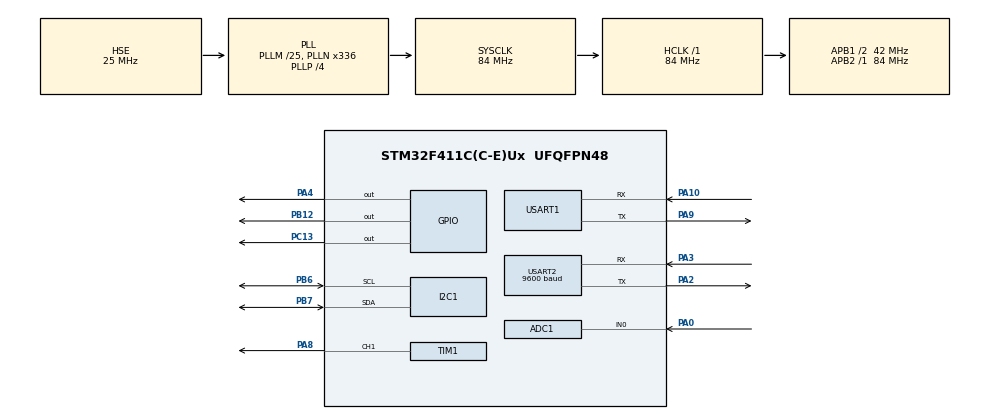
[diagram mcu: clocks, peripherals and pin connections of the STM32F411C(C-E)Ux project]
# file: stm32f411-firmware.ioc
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ADC1.Channel-0\#ChannelRegularConversion=ADC_CHANNEL_0
ADC1.NbrOfConversionFlag=1
ADC1.Rank-0\#ChannelRegularConversion=1
ADC1.SamplingTime-0\#ChannelRegularConversion=ADC_SAMPLETIME_3CYCLES
ADC1.master=1
Mcu.Family=STM32F4
Mcu.Name=STM32F411C(C-E)Ux
Mcu.Package=UFQFPN48
NVIC.PriorityGroup=NVIC_PRIORITYGROUP_4
NVIC.USART2_IRQn=true\:0\:0\:false\:false\:true\:true\:true\:true
PA0-WKUP.Signal=ADCx_IN0
PA10.Mode=Asynchronous
PA10.Signal=USART1_RX
PA13.Mode=Serial_Wire
PA13.Signal=SYS_JTMS-SWDIO
PA14.Mode=Serial_Wire
PA14.Signal=SYS_JTCK-SWCLK
PA2.Mode=Asynchronous
PA2.Signal=USART2_TX
PA3.Mode=Asynchronous
PA3.Signal=USART2_RX
PA4.Signal=GPIO_Output
PA8.Signal=S_TIM1_CH1
PA9.Mode=Asynchronous
PA9.Signal=USART1_TX
PB12.Signal=GPIO_Output
PB6.Mode=I2C
PB6.Signal=I2C1_SCL
PB7.Mode=I2C
PB7.Signal=I2C1_SDA
PC13-ANTI_TAMP.PinState=GPIO_PIN_SET
PC13-ANTI_TAMP.Signal=GPIO_Output
PH0\ -\ OSC_IN.Mode=HSE-External-Oscillator
PH0\ -\ OSC_IN.Signal=RCC_OSC_IN
PH1\ -\ OSC_OUT.Mode=HSE-External-Oscillator
PH1\ -\ OSC_OUT.Signal=RCC_OSC_OUT
ProjectManager.HeapSize=0x200
ProjectManager.StackSize=0x400
ProjectManager.TargetToolchain=CMake
RCC.48MHZClocksFreq_Value=84000000
RCC.AHBFreq_Value=84000000
RCC.APB1CLKDivider=RCC_HCLK_DIV2
RCC.APB1Freq_Value=42000000
RCC.APB1TimFreq_Value=84000000
RCC.APB2Freq_Value=84000000
RCC.APB2TimFreq_Value=84000000
RCC.CortexFreq_Value=84000000
RCC.HCLKFreq_Value=84000000
RCC.HSE_VALUE=25000000
RCC.HSI_VALUE=16000000
RCC.LSE_VALUE=32768
RCC.PLLM=25
RCC.PLLN=336
RCC.PLLP=RCC_PLLP_DIV4
RCC.PLLSourceVirtual=RCC_PLLSOURCE_HSE
RCC.SYSCLKFreq_VALUE=84000000
RCC.SYSCLKSource=RCC_SYSCLKSOURCE_PLLCLK
RCC.VCOOutputFreq_Value=336000000
SH.ADCx_IN0.0=ADC1_IN0,IN0
SH.S_TIM1_CH1.0=TIM1_CH1,PWM Generation1 CH1
TIM1.Channel-PWM\ Generation1\ CH1=TIM_CHANNEL_1
TIM1.ClockDivision=TIM_CLOCKDIVISION_DIV1
TIM1.Period=99
TIM1.Prescaler=41
USART1.VirtualMode=VM_ASYNC
USART2.BaudRate=9600
USART2.VirtualMode=VM_ASYNC
VP_TIM1_VS_ClockSourceINT.Mode=Internal
board=custom

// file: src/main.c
/* USER CODE BEGIN Header */
/**
  ******************************************************************************
  * @file           : main.c
  * @brief          : Main program body - Hardware Test Harness
  *
  * STM32F411CEU6 Black Pill - Phase 1 Hardware Verification
  * Tests: LED, Buzzer, UART Debug, ADC/LM35, I2C Scan, INA219, BMP280, PWM Motor
  ******************************************************************************
  */
/* USER CODE END Header */
#include "main.h"
#include "adc.h"
#include "i2c.h"
#include "tim.h"
#include "usart.h"
#include "gpio.h"

/* USER CODE BEGIN Includes */
#include "drivers/gpio_driver.h"
#include "drivers/uart_debug.h"
#include "drivers/i2c_driver.h"
#include "sensors/lm35_test.h"
#include "sensors/ina219_test.h"
#include "sensors/bmp280_test.h"
#include "motor/motor_control.h"
#include "fault/fault_manager.h"
#include "config/config.h"
#include <stdio.h>
#include <string.h>
/* USER CODE END Includes */

void SystemClock_Config(void);

int main(void)
{

  /* MCU Configuration--------------------------------------------------------*/

  /* Reset of all peripherals, Initializes the Flash interface and the Systick. */
  HAL_Init();

  /* Configure the system clock */
  SystemClock_Config();

  /* Initialize all configured peripherals */
  MX_GPIO_Init();
  MX_ADC1_Init();
  MX_I2C1_Init();
  MX_TIM1_Init();
  MX_USART1_UART_Init();
  MX_USART2_UART_Init();
  /* USER CODE BEGIN 2 */

  /* ========================================================================
   * PHASE 1: BASIC PERIPHERAL INIT
   * ======================================================================== */
  gpio_driver_init();
  uart_debug_init();

  uart_debug_printf("\r\n");
  uart_debug_printf("============================================\r\n");
  uart_debug_printf("  STM32F411CEU6 - Motor Control Firmware\r\n");
  uart_debug_printf("  Build: %s %s\r\n", __DATE__, __TIME__);
  uart_debug_printf("  Phase 2: Motor Control & Protection\r\n");
  uart_debug_printf("============================================\r\n");
  uart_debug_printf("SYSCLK: %lu MHz\r\n", HAL_RCC_GetSysClockFreq() / 1000000UL);
  uart_debug_printf("Chip ID: 0x%08lX\r\n", HAL_GetDEVID());

  /* ========================================================================
   * PHASE 2: MOTOR CONTROL INIT
   * ======================================================================== */
  uart_debug_printf("\r\n[INIT] Starting motor control initialization...\r\n");

  if (motor_control_init() != 0) {
      uart_debug_printf("[INIT] Motor control init FAILED!\r\n");
      Error_Handler();
  }

  /* ========================================================================
   * DIAGNOSTIC: Verify TIM1 PWM registers
   * ======================================================================== */
  uart_debug_printf("\r\n[DIAG] TIM1 Register Check:\r\n");
  uart_debug_printf("  CR1  = 0x%04lX (bit0 CEN=timer enable)\r\n",
                    (unsigned long)htim1.Instance->CR1);
  uart_debug_printf("  CCER = 0x%04lX (bit0 CC1E=ch1 output enable)\r\n",
                    (unsigned long)htim1.Instance->CCER);
  uart_debug_printf("  BDTR = 0x%04lX (bit15 MOE=main output enable)\r\n",
                    (unsigned long)htim1.Instance->BDTR);
  uart_debug_printf("  CNT  = %lu\r\n", (unsigned long)htim1.Instance->CNT);
  uart_debug_printf("  CCR1 = %lu (compare value)\r\n",
                    (unsigned long)htim1.Instance->CCR1);
  uart_debug_printf("  ARR  = %lu (auto-reload = period)\r\n",
                    (unsigned long)htim1.Instance->ARR);

  /* Check critical bits */
  uint32_t u32_cr1 = htim1.Instance->CR1;
  uint32_t u32_ccer = htim1.Instance->CCER;
  uint32_t u32_bdtr = htim1.Instance->BDTR;

  if ((u32_cr1 & 0x01U) == 0U) {
      uart_debug_printf("  [WARN] TIM1 not running! CR1.CEN=0\r\n");
  }
  if ((u32_ccer & 0x01U) == 0U) {
      uart_debug_printf("  [WARN] CH1 output not enabled! CCER.CC1E=0\r\n");
  }
  if ((u32_bdtr & 0x8000U) == 0U) {
      uart_debug_printf("  [WARN] Main output disabled! BDTR.MOE=0\r\n");
  }

  /* Also read GPIO config for PA8 */
  uart_debug_printf("  PA8 MODER = 0x%04lX (should be 0x02 = AF mode)\r\n",
                    (unsigned long)((GPIOA->MODER >> (8U * 2U)) & 0x03U));
  uart_debug_printf("  PA8 AFR[1] = 0x%01lX (should be 0x1 = AF1)\r\n",
                    (unsigned long)((GPIOA->AFR[1U] >> (0U * 4U)) & 0x0FU));
  uart_debug_printf("\r\n");

  /* Start with motor stopped, manual mode, default thresholds */
  motor_command_t s_motor_cmd;
  s_motor_cmd.u8_enable         = 0U;
  s_motor_cmd.u8_pwm_setpoint   = 0U;
  s_motor_cmd.e_mode            = MOTOR_MODE_MANUAL;
  s_motor_cmd.u8_reset_fault    = 0U;
  s_motor_cmd.u16_current_limit = 1000U;    /* 1.0A */
  s_motor_cmd.u16_temp_warn     = 450U;     /* 45.0°C */
  s_motor_cmd.u16_temp_fault    = 650U;     /* 65.0°C */

  uart_debug_printf("[INIT] Motor control ready. Starting super loop...\r\n");
  uart_debug_printf("[INIT] Send 'S' to start motor, 'X' to stop, 'R' to reset fault\r\n");
  uart_debug_printf("[INIT] Send '1'-'9' to set PWM (10%%-90%%), '0' for 100%%\r\n");
  uart_debug_printf("[INIT] Send 'A' for auto mode, 'M' for manual mode\r\n\r\n");

  /* ========================================================================
   * SUPER LOOP: Motor Control + UART Command Parser
   * ======================================================================== */
  uint32_t u32_last_motor_update = 0U;
  uint32_t u32_last_status_print = 0U;
  uint32_t u32_last_watchdog_feed = 0U;
  uint8_t u8_rx_byte = 0U;

  /* Enable IWDG (Independent Watchdog) - 2s timeout */
  /* NOTE: Uncomment after verifying IWDG works in test
  IWDG_HandleTypeDef hiwdg;
  hiwdg.Instance = IWDG;
  hiwdg.Init.Prescaler = IWDG_PRESCALER_4;
  hiwdg.Init.Reload = 4095U;  // ~2s timeout at 40kHz/4
  HAL_IWDG_Init(&hiwdg);
  */

  /* USER CODE END 2 */

  /* Infinite loop */
  while (1)
  {

    /* USER CODE BEGIN 3 */

    uint32_t u32_now = HAL_GetTick();

    /* --- 1. Motor control update (every 100ms) --- */
    if ((u32_now - u32_last_motor_update) >= 100U) {
        u32_last_motor_update = u32_now;
        motor_control_update(&s_motor_cmd);
    }

    /* --- 2. Status print (every 2 seconds) --- */
    if ((u32_now - u32_last_status_print) >= 2000U) {
        u32_last_status_print = u32_now;

        const motor_sensor_data_t *ps_sensor = motor_get_sensor_data();
        uart_debug_printf("--- Status ---\r\n");
        uart_debug_printf("  State: %d | PWM: %d%% | Mode: %s\r\n",
                          motor_get_state(), motor_get_pwm(),
                          (s_motor_cmd.e_mode == MOTOR_MODE_MANUAL) ? "MANUAL" : "AUTO");
        uart_debug_printf("  Temp: %.1f°C | Current: %dmA | Voltage: %dmV\r\n",
                          (float)ps_sensor->s16_lm35_temp_c10 / 10.0f,
                          ps_sensor->s16_current_ma,
                          ps_sensor->u16_voltage_mv);
        uart_debug_printf("  Alarm: 0x%04X | Fault: %d | Errors: 0x%02X\r\n",
                          motor_get_alarm_flags(),
                          motor_get_fault_code(),
                          ps_sensor->u8_sensor_errors);
        uart_debug_printf("---\r\n");
    }

    /* --- 3. Watchdog feed + fault recovery (every 1 second) --- */
    if ((u32_now - u32_last_watchdog_feed) >= 1000U) {
        u32_last_watchdog_feed = u32_now;
        /* BUG FIX: Call fault_manager_update for auto-recovery */
        fault_manager_update(u32_now);
        /* HAL_IWDG_Refresh(&hiwdg);  // Uncomment when IWDG is enabled */
    }

    /* --- 4. UART command parser (non-blocking) --- */
    if (HAL_UART_Receive(&huart1, &u8_rx_byte, 1U, 0U) == HAL_OK) {
        switch (u8_rx_byte) {
            case 'S':   /* Start motor */
            case 's':
                s_motor_cmd.u8_enable = 1U;
                s_motor_cmd.u8_pwm_setpoint = 50U;  /* Default 50% */
                uart_debug_printf("[CMD] Motor START (50%%)\r\n");
                break;

            case 'X':   /* Stop motor */
            case 'x':
                s_motor_cmd.u8_enable = 0U;
                s_motor_cmd.u8_pwm_setpoint = 0U;
                uart_debug_printf("[CMD] Motor STOP\r\n");
                break;

            case 'R':   /* Reset fault */
            case 'r':
                s_motor_cmd.u8_reset_fault = 1U;
                uart_debug_printf("[CMD] Reset fault\r\n");
                HAL_Delay(100U);
                s_motor_cmd.u8_reset_fault = 0U;
                break;

            case '0':   /* 100% PWM */
                s_motor_cmd.u8_pwm_setpoint = 100U;
                uart_debug_printf("[CMD] PWM = 100%%\r\n");
                break;

            case '1':   /* 10% PWM */
            case '2':   /* 20% */
            case '3':   /* 30% */
            case '4':   /* 40% */
            case '5':   /* 50% */
            case '6':   /* 60% */
            case '7':   /* 70% */
            case '8':   /* 80% */
            case '9':   /* 90% */
                s_motor_cmd.u8_pwm_setpoint = (u8_rx_byte - '0') * 10U;
                uart_debug_printf("[CMD] PWM = %d%%\r\n", s_motor_cmd.u8_pwm_setpoint);
                break;

            case 'A':   /* Auto mode */
            case 'a':
                s_motor_cmd.e_mode = MOTOR_MODE_AUTO;
                s_motor_cmd.u8_enable = 1U;
                uart_debug_printf("[CMD] Mode -> AUTO\r\n");
                break;

            case 'M':   /* Manual mode */
            case 'm':
                s_motor_cmd.e_mode = MOTOR_MODE_MANUAL;
                uart_debug_printf("[CMD] Mode -> MANUAL\r\n");
                break;

            /* === DIAGNOSTIC: Direct PWM test bypassing state machine === */
            case 'T':   /* Test PWM directly at 100% - bypass FSM */
            case 't':
                uart_debug_printf("[DIAG] Direct PWM test: 100%%\r\n");
                __HAL_TIM_SET_COMPARE(&htim1, TIM_CHANNEL_1, 99U);
                uart_debug_printf("[DIAG] Compare set to 99. PA8 should be HIGH\r\n");
                uart_debug_printf("[DIAG] TIM1 BDTR=0x%04lX CR1=0x%04lX CCER=0x%04lX\r\n",
                                  (unsigned long)htim1.Instance->BDTR,
                                  (unsigned long)htim1.Instance->CR1,
                                  (unsigned long)htim1.Instance->CCER);
                break;

            case 'Y':   /* Stop PWM test - set 0% */
            case 'y':
                uart_debug_printf("[DIAG] Direct PWM test: 0%%\r\n");
                __HAL_TIM_SET_COMPARE(&htim1, TIM_CHANNEL_1, 0U);
                break;

            default:
                uart_debug_printf("[CMD] Unknown: '%c' (0x%02X)\r\n",
                                  (char)u8_rx_byte, u8_rx_byte);
                break;
        }
    }
  }
  /* USER CODE END 3 */
}

void SystemClock_Config(void)
{
  RCC_OscInitTypeDef RCC_OscInitStruct = {0};
  RCC_ClkInitTypeDef RCC_ClkInitStruct = {0};

  /** Configure the main internal regulator output voltage
  */
  __HAL_RCC_PWR_CLK_ENABLE();
  __HAL_PWR_VOLTAGESCALING_CONFIG(PWR_REGULATOR_VOLTAGE_SCALE1);

  /** Initializes the RCC Oscillators according to the specified parameters
  * in the RCC_OscInitTypeDef structure.
  */
  RCC_OscInitStruct.OscillatorType = RCC_OSCILLATORTYPE_HSE;
  RCC_OscInitStruct.HSEState = RCC_HSE_ON;
  RCC_OscInitStruct.PLL.PLLState = RCC_PLL_ON;
  RCC_OscInitStruct.PLL.PLLSource = RCC_PLLSOURCE_HSE;
  RCC_OscInitStruct.PLL.PLLM = 25;
  RCC_OscInitStruct.PLL.PLLN = 336;
  RCC_OscInitStruct.PLL.PLLP = RCC_PLLP_DIV4;
  RCC_OscInitStruct.PLL.PLLQ = 4;
  if (HAL_RCC_OscConfig(&RCC_OscInitStruct) != HAL_OK)
  {
    Error_Handler();
  }

  /** Initializes the CPU, AHB and APB buses clocks
  */
  RCC_ClkInitStruct.ClockType = RCC_CLOCKTYPE_HCLK|RCC_CLOCKTYPE_SYSCLK
                              |RCC_CLOCKTYPE_PCLK1|RCC_CLOCKTYPE_PCLK2;
  RCC_ClkInitStruct.SYSCLKSource = RCC_SYSCLKSOURCE_PLLCLK;
  RCC_ClkInitStruct.AHBCLKDivider = RCC_SYSCLK_DIV1;
  RCC_ClkInitStruct.APB1CLKDivider = RCC_HCLK_DIV2;
  RCC_ClkInitStruct.APB2CLKDivider = RCC_HCLK_DIV1;

  if (HAL_RCC_ClockConfig(&RCC_ClkInitStruct, FLASH_LATENCY_2) != HAL_OK)
  {
    Error_Handler();
  }
}

void Error_Handler(void)
{
  __disable_irq();
  while (1)
  {
  }
}
